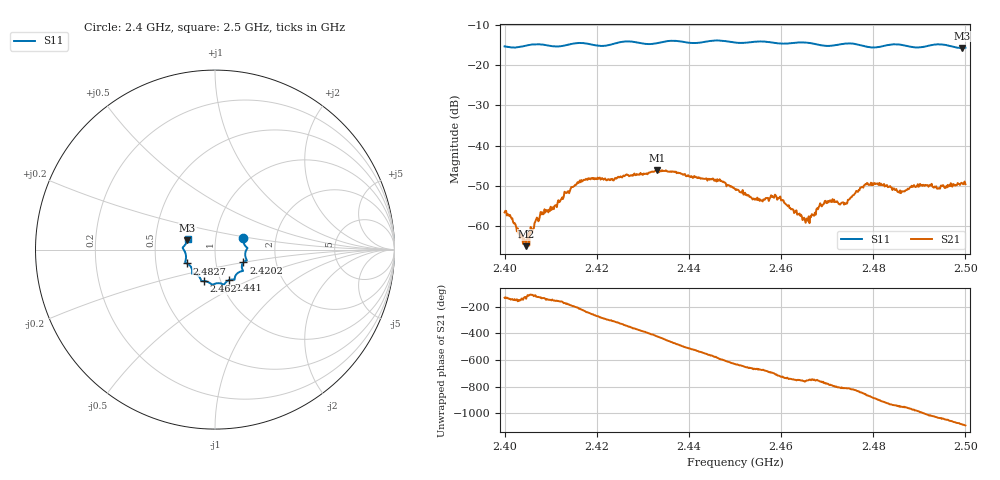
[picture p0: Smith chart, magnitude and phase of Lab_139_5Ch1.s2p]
# Hz S RI R 50
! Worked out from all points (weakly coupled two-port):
!   601 points, 2.4 GHz to 2.5 GHz, reference 50 ohm
!   highest |S21| = -46.06 dB at 2.433 GHz (marker M1); lowest = -64.9 dB at 2.4047 GHz (marker M2)
!   lowest |S11| = -15.8 dB at 2.4993 GHz (marker M3), VSWR 1.39, Z = 36.5 + j3.87 ohm
!   |S11| at or under -10 dB: start of sweep to end of sweep
!   S12 and S22 are empty: the file has one direction only
!   S11 on the Smith chart (normalised r, x): 2.4 GHz: 1.36, +0.18; 2.4202 GHz: 1.36, -0.20; 2.441 GHz: 1.10, -0.39; 2.462 GHz: 0.83, -0.30; 2.4827 GHz: 0.72, -0.11; 2.5 GHz: 0.73, +0.09
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2.4e9  0.1583 0.0624  -0.00102 -0.00108  0 0  0 0
2.404667e9  0.1732 0.0157  -0.000434 -0.000366  0 0  0 0
2.408167e9  0.1791 0.00596  -0.00106 -0.00105  0 0  0 0
2.416667e9  0.1774 -0.0606  -0.00278 0.00252  0 0  0 0
2.420167e9  0.1582 -0.0714  7.96e-05 0.00402  0 0  0 0
2.433e9  0.113 -0.1479  0.00232 -0.0044  0 0  0 0
2.433333e9  0.1117 -0.1509  0.00198 -0.00445  0 0  0 0
2.441e9  0.0783 -0.17  -0.00388 -0.00113  0 0  0 0
2.45e9  0.0282 -0.1876  6.01e-05 0.00291  0 0  0 0
2.454167e9  -0.00865 -0.1937  0.00131 0.00177  0 0  0 0
2.459333e9  -0.0354 -0.1822  0.00221 5.45e-05  0 0  0 0
2.462e9  -0.0609 -0.1758  0.00156 -0.000632  0 0  0 0
2.465167e9  -0.0767 -0.174  0.00087 -0.000817  0 0  0 0
2.466667e9  -0.0788 -0.1679  0.00127 -0.000623  0 0  0 0
2.47e9  -0.0954 -0.1436  0.000996 -0.00167  0 0  0 0
2.474167e9  -0.1258 -0.1351  -6.71e-05 -0.00192  0 0  0 0
2.4785e9  -0.1284 -0.11  -0.00272 -0.0019  0 0  0 0
2.482667e9  -0.1565 -0.0771  -0.00298 0.00118  0 0  0 0
2.483333e9  -0.1606 -0.0751  -0.00272 0.00144  0 0  0 0
2.485833e9  -0.1654 -0.0679  -0.00167 0.00224  0 0  0 0
2.499333e9  -0.154 0.0517  0.0034 -0.000338  0 0  0 0
2.5e9  -0.1523 0.0611  0.00326 -0.000738  0 0  0 0
